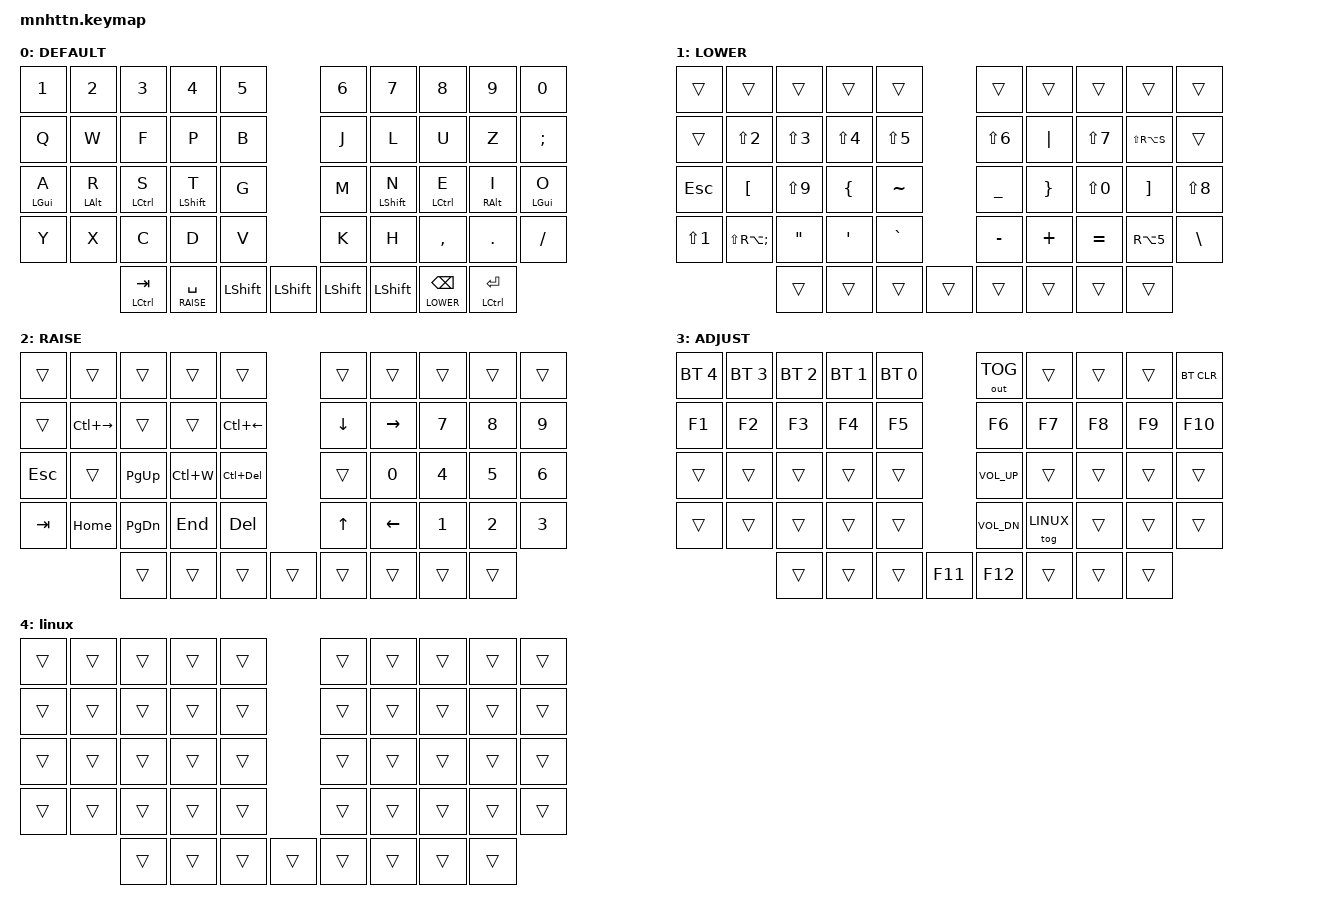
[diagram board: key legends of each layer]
#include <behaviors.dtsi>
#include <dt-bindings/zmk/keys.h>
#include <dt-bindings/zmk/bt.h>
#include <dt-bindings/zmk/outputs.h>

#define DEFAULT 0
#define LOWER 1
#define RAISE 2
#define ADJUST 3
#define LINUX 4

#define UMLAUT_AQ <20 10>
#define UMLAUT_SF <22 12>
#define UMLAUT_UE <17 27>
#define UMLAUT_OS <29 19>
#define UMLAUT_MAC_LAYERS <0 1 2 3>
#define UMLAUT_LIN_LAYERS <4>


&lt {
    flavor = "tap-preferred";
    quick-tap-ms = <200>;
};
/ {
    chosen {
      zmk,battery = &vbatt;
    };

    vbatt: vbatt {
        compatible = "zmk,battery-nrf-vddh";
    };

    conditional_layers {
        compatible = "zmk,conditional-layers";
        tri_layer {
            if-layers = <1 2>;
            then-layer = <3>;
        };
    };
    combos {
        compatible = "zmk,combos";
        #include "umlaut_combos.dtsi"
    };
    behaviors {
        #include "umlaut_macros.dtsi"
        hm: homerow_mods {
            compatible = "zmk,behavior-hold-tap";
            label = "HOMEROW_MODS";
            #binding-cells = <2>;
            tapping-term-ms = <170>;
            quick-tap-ms = <100>;
            flavor = "balanced";
            bindings = <&kp>, <&kp>;
        };
        // hm: homerow_mods {
        //     compatible = "zmk,behavior-hold-tap";
        //     label = "HOMEROW_MODS";
        //     #binding-cells = <2>;
        //     tapping-term-ms = <350>;
        //     quick-tap-ms = <0>;
        //     flavor = "balanced";
        //     bindings = <&kp>, <&kp>;
        // };
    };

    keymap {
        compatible = "zmk,keymap";
        default_layer {
            label= "DEFAULT";
            bindings = <
                &kp N1     &kp N2     &kp N3        &kp N4          &kp N5                           &kp N6    &kp N7         &kp N8        &kp N9     &kp N0
                &kp Q      &kp W      &kp F         &kp P           &kp B                            &kp J     &kp L          &kp U         &kp Z      &kp SEMI
                &hm LGUI A &hm LALT R &hm LCTRL S   &hm LSHFT T     &kp G                            &kp M     &hm LSHFT N    &hm LCTRL E   &hm RALT I &hm LGUI O
                &kp Y      &kp X      &kp C         &kp D           &kp V                            &kp K     &kp H          &kp COMMA     &kp DOT    &kp FSLH
                                      &hm LCTRL TAB &lt RAISE SPACE &kp LSHFT  &kp LSHFT  &kp LSHFT  &kp LSHFT &lt LOWER BSPC &hm LCTRL RET
            >;
        };

        lower_layer  {
            label= "LOWER";
            bindings = <
                &trans     &trans           &trans     &trans     &trans                            &trans     &trans   &trans     &trans        &trans
                &trans     &kp LS(N2)       &kp LS(N3) &kp LS(N4) &kp LS(N5)                        &kp LS(N6) &kp PIPE &kp LS(N7) &kp LS(RA(S)) &trans
                &kp ESC    &kp LBKT         &kp LS(N9) &kp LBRC   &kp TILDE                         &kp UNDER  &kp RBRC &kp LS(N0) &kp RBKT      &kp LS(N8)
                &kp LS(N1) &kp LS(RA(SEMI)) &kp DQT    &kp SQT    &kp GRAVE                         &kp MINUS  &kp PLUS &kp EQUAL  &kp RA(N5)    &kp BSLH
                                            &trans     &trans     &trans     &trans      &trans     &trans     &trans   &trans
            >;
        };

        raise_layer {
            label= "RAISE";
	    bindings = <
                &trans   &trans        &trans     &trans    &trans                          &trans    &trans    &trans  &trans &trans
                &trans   &kp LC(RIGHT) &trans     &trans    &kp LC(LEFT)                    &kp DOWN  &kp RIGHT &kp N7  &kp N8 &kp N9
                &kp ESC  &trans        &kp PG_UP  &kp LC(W) &kp LC(DEL)                     &trans    &kp N0    &kp N4  &kp N5 &kp N6
                &kp TAB  &kp HOME      &kp PG_DN  &kp END   &kp DEL                         &kp UP    &kp LEFT  &kp N1  &kp N2 &kp N3
                                       &trans     &trans    &trans       &trans     &trans  &trans    &trans    &trans
            >;
        };

        adjust_layer {
            label= "ADJUST";
            bindings = <
                &bt BT_SEL 4  &bt BT_SEL 3  &bt BT_SEL 2  &bt BT_SEL 1  &bt BT_SEL 0                     &out OUT_TOG  &trans     &trans     &trans     &bt BT_CLR
                &kp F1        &kp F2        &kp F3        &kp F4        &kp F5                           &kp F6        &kp F7     &kp F8     &kp F9     &kp F10
                &trans        &trans        &trans        &trans        &trans                           &kp K_VOL_UP  &trans     &trans     &trans     &trans
                &trans        &trans        &trans        &trans        &trans                           &kp K_VOL_DN  &tog LINUX &trans     &trans     &trans
                                            &trans        &trans        &trans        &kp F11   &kp F12  &trans        &trans     &trans
            >;
        };

        linux {
            bindings = <
&trans &trans &trans &trans &trans   &trans &trans &trans &trans &trans
&trans &trans &trans &trans &trans   &trans &trans &trans &trans &trans
&trans &trans &trans &trans &trans   &trans &trans &trans &trans &trans
&trans &trans &trans &trans &trans   &trans &trans &trans &trans &trans
              &trans &trans &trans   &trans &trans &trans &trans &trans
            >;
        };
    };
};
